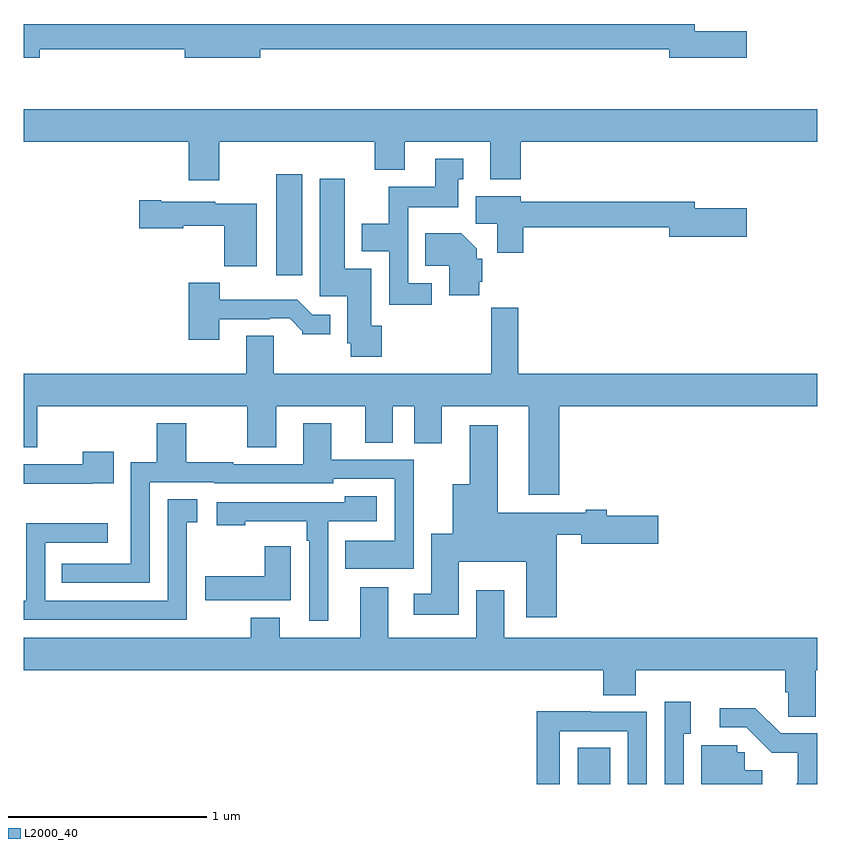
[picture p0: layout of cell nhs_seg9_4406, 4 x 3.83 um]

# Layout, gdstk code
import gdstk
lib = gdstk.Library(unit=1e-6, precision=1e-09)
def R(c, l, rs):  # rectangles x0, y0, x1, y1
    for r in rs: c.add(gdstk.rectangle(r[:2], r[2:], *l))
def P(c, l, *ps):  # polygons
    for p in ps: c.add(gdstk.Polygon(p, *l))
L2000_40 = (2000, 40)

nhs_seg9_4406 = lib.new_cell('nhs_seg9_4406')
R(nhs_seg9_4406, L2000_40, [(365.792,1210.5,365.956,1210.682), (364.274,1213.065,364.405,1213.573)])
P(nhs_seg9_4406, L2000_40, [(363.082,1214.202),(363.812,1214.202),(363.812,1214.159),(364.192,1214.159),(364.192,1214.202),(366.254,1214.202),(366.254,1214.159),(366.643,1214.159),(366.643,1214.294),(366.382,1214.294),(366.382,1214.33),(363,1214.33),(363,1214.159),(363.082,1214.159)],
  [(363.985,1213.736),(364.769,1213.736),(364.769,1213.595),(364.921,1213.595),(364.921,1213.736),(365.351,1213.736),(365.351,1213.547),(365.504,1213.547),(365.504,1213.736),(367,1213.736),(367,1213.9),(363,1213.9),(363,1213.736),(363.833,1213.736),(363.833,1213.542),(363.985,1213.542)],
  [(365.056,1213.023),(364.938,1213.023),(364.938,1213.406),(365.191,1213.406),(365.191,1213.548),(365.215,1213.548),(365.215,1213.651),(365.075,1213.651),(365.075,1213.51),(364.84,1213.51),(364.84,1213.324),(364.703,1213.324),(364.703,1213.184),(364.842,1213.184),(364.842,1212.915),(365.056,1212.915)],
  [(364.805,1212.81),(364.753,1212.81),(364.753,1213.096),(364.618,1213.096),(364.618,1213.549),(364.493,1213.549),(364.493,1212.957),(364.631,1212.957),(364.631,1212.72),(364.648,1212.72),(364.648,1212.654),(364.805,1212.654)],
  [(365.519,1213.306),(366.254,1213.306),(366.254,1213.259),(366.643,1213.259),(366.643,1213.401),(366.382,1213.401),(366.382,1213.435),(365.506,1213.435),(365.506,1213.462),(365.279,1213.462),(365.279,1213.324),(365.386,1213.324),(365.386,1213.176),(365.519,1213.176)],
  [(364.174,1213.423),(363.966,1213.423),(363.966,1213.435),(363.694,1213.435),(363.694,1213.443),(363.582,1213.443),(363.582,1213.301),(363.804,1213.301),(363.804,1213.313),(364.012,1213.313),(364.012,1213.109),(364.174,1213.109)],
  [(365.297,1213.032),(365.311,1213.032),(365.311,1213.146),(365.284,1213.146),(365.284,1213.198),(365.206,1213.276),(365.023,1213.276),(365.023,1213.112),(365.144,1213.112),(365.144,1212.962),(365.297,1212.962)],
  [(363.985,1212.843),(364.241,1212.843),(364.241,1212.846),(364.34,1212.846),(364.404,1212.782),(364.404,1212.767),(364.546,1212.767),(364.546,1212.864),(364.455,1212.864),(364.379,1212.94),(363.988,1212.94),(363.988,1213.027),(363.833,1213.027),(363.833,1212.738),(363.985,1212.738)],
  [(365.699,1212.404),(367,1212.404),(367,1212.568),(365.492,1212.568),(365.492,1212.901),(365.356,1212.901),(365.356,1212.568),(364.261,1212.568),(364.261,1212.758),(364.121,1212.758),(364.121,1212.568),(363,1212.568),(363,1212.196),(363.068,1212.196),(363.068,1212.404),(364.126,1212.404),(364.126,1212.198),(364.273,1212.198),(364.273,1212.404),(364.721,1212.404),(364.721,1212.22),(364.861,1212.22),(364.861,1212.404),(364.968,1212.404),(364.968,1212.216),(365.107,1212.216),(365.107,1212.404),(365.546,1212.404),(365.546,1211.958),(365.699,1211.958)],
  [(363.636,1212.021),(363.96,1212.021),(363.96,1212.015),(364.56,1212.015),(364.56,1212.039),(364.869,1212.039),(364.869,1211.725),(364.621,1211.725),(364.621,1211.585),(364.967,1211.585),(364.967,1212.135),(364.549,1212.135),(364.549,1212.319),(364.409,1212.319),(364.409,1212.111),(364.056,1212.111),(364.056,1212.122),(363.819,1212.122),(363.819,1212.319),(363.671,1212.319),(363.671,1212.122),(363.54,1212.122),(363.54,1211.61),(363.193,1211.61),(363.193,1211.514),(363.636,1211.514)],
  [(365.687,1211.756),(365.81,1211.756),(365.81,1211.71),(366.199,1211.71),(366.199,1211.852),(365.938,1211.852),(365.938,1211.881),(365.834,1211.881),(365.834,1211.868),(365.389,1211.868),(365.389,1212.307),(365.249,1212.307),(365.249,1212.01),(365.162,1212.01),(365.162,1211.761),(365.054,1211.761),(365.054,1211.458),(364.965,1211.458),(364.965,1211.354),(365.194,1211.354),(365.194,1211.621),(365.534,1211.621),(365.534,1211.34),(365.687,1211.34)],
  [(363.347,1212.015),(363.455,1212.015),(363.455,1212.175),(363.299,1212.175),(363.299,1212.111),(363,1212.111),(363,1212.014),(363.347,1212.014)],
  [(364.536,1211.823),(364.78,1211.823),(364.78,1211.95),(364.619,1211.95),(364.619,1211.919),(363.972,1211.919),(363.972,1211.804),(364.116,1211.804),(364.116,1211.823),(364.428,1211.823),(364.428,1211.726),(364.44,1211.726),(364.44,1211.322),(364.536,1211.322)],
  [(363.822,1211.818),(363.874,1211.818),(363.874,1211.936),(363.726,1211.936),(363.726,1211.424),(363.108,1211.424),(363.108,1211.715),(363.424,1211.715),(363.424,1211.813),(363.012,1211.813),(363.012,1211.424),(363,1211.424),(363,1211.328),(363.822,1211.328)],
  [(364.345,1211.698),(364.216,1211.698),(364.216,1211.548),(363.915,1211.548),(363.915,1211.426),(364.345,1211.426)],
  [(366.991,1211.072),(367,1211.072),(367,1211.236),(365.422,1211.236),(365.422,1211.476),(365.282,1211.476),(365.282,1211.236),(364.837,1211.236),(364.837,1211.491),(364.697,1211.491),(364.697,1211.236),(364.291,1211.236),(364.291,1211.338),(364.144,1211.338),(364.144,1211.236),(363,1211.236),(363,1211.072),(365.921,1211.072),(365.921,1210.948),(366.086,1210.948),(366.086,1211.072),(366.839,1211.072),(366.839,1210.962),(366.853,1210.962),(366.853,1210.84),(366.991,1210.84)],
  [(366.327,1210.754),(366.361,1210.754),(366.361,1210.915),(366.231,1210.915),(366.231,1210.5),(366.327,1210.5)],
  [(366.999,1210.755),(366.816,1210.755),(366.688,1210.883),(366.507,1210.883),(366.507,1210.785),(366.642,1210.785),(366.769,1210.658),(366.902,1210.658),(366.902,1210.508),(366.894,1210.5),(366.999,1210.5)],
  [(365.703,1210.767),(366.045,1210.767),(366.045,1210.5),(366.141,1210.5),(366.141,1210.863),(365.857,1210.863),(365.857,1210.867),(365.587,1210.867),(365.587,1210.5),(365.703,1210.5)],
  [(366.721,1210.57),(366.633,1210.57),(366.633,1210.659),(366.597,1210.659),(366.597,1210.695),(366.416,1210.695),(366.416,1210.5),(366.721,1210.5)])

lib.write_gds('nhs_seg9_4406.gds')
